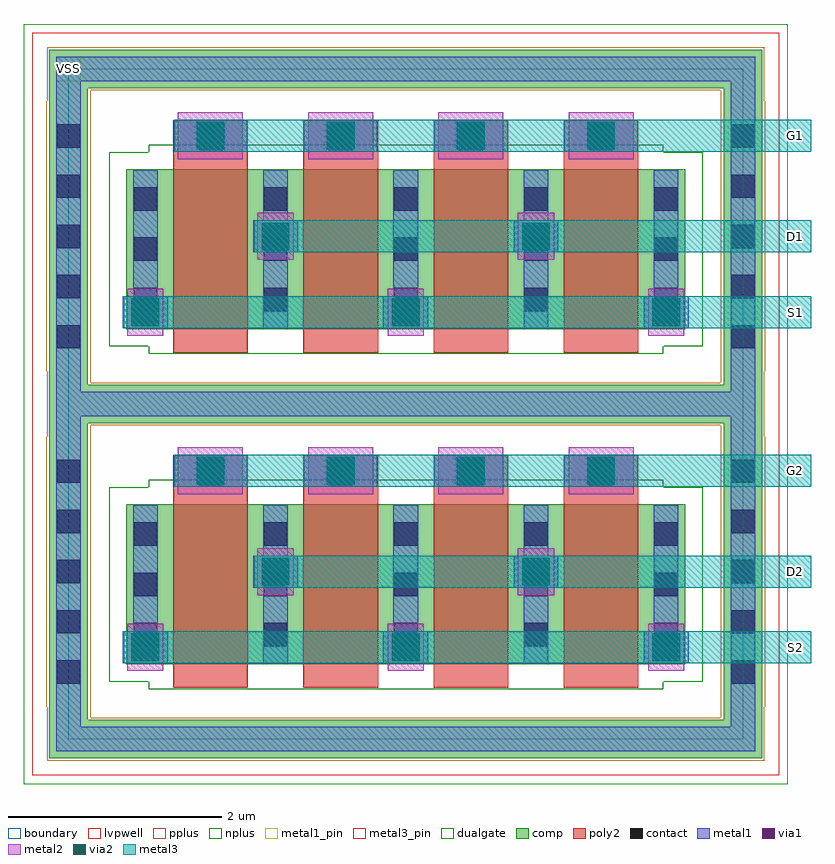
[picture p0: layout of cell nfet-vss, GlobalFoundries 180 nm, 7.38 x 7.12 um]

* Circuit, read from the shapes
.subckt nfet-vss D1 D2 G1 G2 S1 S2 VSS
XM1 D2 G2 S2 VSS nfet_06v0 w=1.5u l=0.7u m=4
XM2 D1 G1 S1 VSS nfet_06v0 w=1.5u l=0.7u m=4
.ends

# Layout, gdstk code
import gdstk
lib = gdstk.Library(unit=1e-6, precision=1e-09)
def R(c, l, rs):  # rectangles x0, y0, x1, y1
    for r in rs: c.add(gdstk.rectangle(r[:2], r[2:], *l))
def A(c, l, x, y, w, h, nx, ny, dx, dy):  # array of equal rectangles
    R(c, l, [(x+i*dx, y+j*dy, x+i*dx+w, y+j*dy+h) for i in range(nx) for j in range(ny)])
boundary = (0, 0)
comp = (22, 0)
poly2 = (30, 0)
pplus = (31, 0)
nplus = (32, 0)
contact = (33, 0)
metal1 = (34, 0)
metal1_pin = (34, 10)
via1 = (35, 0)
metal2 = (36, 0)
via2 = (38, 0)
metal3 = (42, 0)
metal3_pin = (42, 10)
dualgate = (55, 0)
lvpwell = (204, 0)

nfet_06v0_52fgqa__0 = lib.new_cell('nfet_06v0_52FGQA__0')
R(nfet_06v0_52fgqa__0, boundary, [(-3.16,-1.57,3.16,1.57)])
R(nfet_06v0_52fgqa__0, comp, [(-3.34,-1.75,3.34,-1.39), (-3.34,-1.39,-2.98,1.39), (2.98,-1.39,3.34,1.39), (-2.62,-0.87,2.62,0.63), (-3.34,1.39,3.34,1.75)])
A(nfet_06v0_52fgqa__0, poly2, -2.18, -1.09, 0.7, 2.18, 4, 1, 1.22, 0)
R(nfet_06v0_52fgqa__0, pplus, [(-3.36,-1.77,3.36,-1.37), (-3.36,-1.37,-2.95,-1.265), (2.95,-1.37,3.36,-1.265), (-3.37,-1.265,-2.95,1.265), (2.95,-1.265,3.37,1.265), (-3.36,1.265,-2.95,1.37), (2.95,1.265,3.36,1.37), (-3.36,1.37,3.36,1.77)])
R(nfet_06v0_52fgqa__0, nplus, [(-2.41,-1.1,2.41,-1.03), (-2.78,-1.03,2.78,0.79), (-2.41,0.79,2.41,0.86)])
A(nfet_06v0_52fgqa__0, contact, -3.27, -1.05, 0.22, 0.22, 1, 5, 0, 0.47)
A(nfet_06v0_52fgqa__0, contact, 3.05, -1.05, 0.22, 0.22, 1, 5, 0, 0.47)
A(nfet_06v0_52fgqa__0, contact, -2.55, -0.7, 0.22, 0.22, 5, 3, 1.22, 0.47)
A(nfet_06v0_52fgqa__0, contact, -1.94, 0.8, 0.22, 0.22, 4, 1, 1.22, 0)
A(nfet_06v0_52fgqa__0, metal1, -2.555, -0.86, 0.23, 1.48, 5, 1, 1.22, 0)
A(nfet_06v0_52fgqa__0, metal1, -2.17, 0.795, 0.68, 0.23, 4, 1, 1.22, 0)
R(nfet_06v0_52fgqa__0, metal1, [(-3.275,-1.685,3.275,-1.455), (-3.275,-1.455,-3.045,1.455), (3.045,-1.455,3.275,1.455), (-3.275,1.455,3.275,1.685)])
R(nfet_06v0_52fgqa__0, dualgate, [(-3.58,-1.99,3.58,1.99)])
R(nfet_06v0_52fgqa__0, lvpwell, [(-3.5,-1.91,3.5,1.91)])

nfet_vss = lib.new_cell('nfet-vss')
A(nfet_vss, metal1, -8.35, -9.25, 0.42, 0.3, 3, 2, 2.44, 3.14)
A(nfet_vss, metal1, -8.255, -8.95, 0.23, 0.07, 3, 1, 2.44, 0)
A(nfet_vss, metal1, -7.875, -7.595, 0.69, 0.3, 4, 2, 1.22, 3.14)
R(nfet_vss, metal1, [(-7.035,-8.95,-6.805,-8.54), (-4.595,-8.61,-4.365,-8.54), (-7.13,-8.54,-6.71,-8.24), (-4.69,-8.54,-4.27,-8.24), (-7.035,-8.24,-6.805,-8.17), (-4.595,-8.24,-4.365,-8.17), (-5.815,-5.81,-5.585,-5.74), (-3.375,-5.81,-3.145,-5.74), (-7.13,-5.4,-6.71,-5.1), (-4.69,-5.4,-4.27,-5.1), (-8.975,-3.795,-8.745,-3.565)])
R(nfet_vss, metal1_pin, [(-8.975,-3.795,-8.745,-3.565)])
A(nfet_vss, via1, -8.27, -9.23, 0.26, 0.26, 3, 2, 2.44, 3.14)
A(nfet_vss, via1, -7.66, -7.575, 0.26, 0.26, 4, 2, 1.22, 3.14)
R(nfet_vss, via1, [(-7.05,-8.52,-6.79,-8.26), (-4.61,-8.52,-4.35,-8.26), (-7.05,-5.38,-6.79,-5.12), (-4.61,-5.38,-4.35,-5.12)])
A(nfet_vss, metal2, -8.31, -9.32, 0.34, 0.44, 3, 2, 2.44, 3.14)
A(nfet_vss, metal2, -7.835, -7.665, 0.61, 0.44, 4, 2, 1.22, 3.14)
R(nfet_vss, metal2, [(-7.09,-8.61,-6.75,-8.17), (-4.65,-8.61,-4.31,-8.17), (-7.09,-5.47,-6.75,-5.03), (-4.65,-5.47,-4.31,-5.03)])
A(nfet_vss, via2, -8.27, -9.23, 0.26, 0.26, 3, 2, 2.44, 3.14)
A(nfet_vss, via2, -7.66, -7.575, 0.26, 0.26, 4, 2, 1.22, 3.14)
R(nfet_vss, via2, [(-7.05,-8.52,-6.79,-8.26), (-4.61,-8.52,-4.35,-8.26), (-7.05,-5.38,-6.79,-5.12), (-4.61,-5.38,-4.35,-5.12)])
R(nfet_vss, metal3, [(-8.34,-9.25,-1.9,-8.95), (-7.12,-8.54,-1.9,-8.24), (-7.865,-7.595,-1.9,-7.295), (-8.34,-6.11,-1.9,-5.81), (-7.12,-5.4,-1.9,-5.1), (-7.865,-4.455,-1.9,-4.155)])
R(nfet_vss, metal3_pin, [(-2.2,-9.25,-1.9,-8.95), (-2.2,-8.54,-1.9,-8.24), (-2.2,-7.595,-1.9,-7.295), (-2.2,-6.11,-1.9,-5.81), (-2.2,-5.4,-1.9,-5.1), (-2.2,-4.455,-1.9,-4.155)])
nfet_vss.add(gdstk.Reference(nfet_06v0_52fgqa__0, (-5.7,-8.39)))
nfet_vss.add(gdstk.Reference(nfet_06v0_52fgqa__0, (-5.7,-5.25)))
nfet_vss.add(gdstk.Label('VSS', (-8.86,-3.68), layer=34, texttype=10))
nfet_vss.add(gdstk.Label('G1', (-2.05,-4.305), layer=42, texttype=10))
nfet_vss.add(gdstk.Label('D1', (-2.05,-5.25), layer=42, texttype=10))
nfet_vss.add(gdstk.Label('S1', (-2.05,-5.96), layer=42, texttype=10))
nfet_vss.add(gdstk.Label('G2', (-2.05,-7.445), layer=42, texttype=10))
nfet_vss.add(gdstk.Label('D2', (-2.05,-8.39), layer=42, texttype=10))
nfet_vss.add(gdstk.Label('S2', (-2.05,-9.1), layer=42, texttype=10))

lib.write_gds('nfet-vss.gds')
